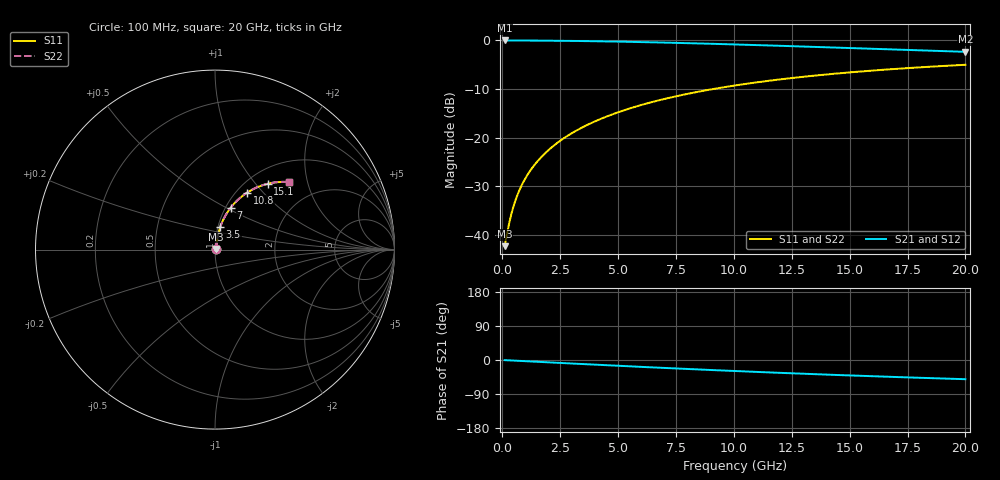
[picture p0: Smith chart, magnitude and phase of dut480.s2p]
! Touchstone file exported from HFSS 2024.1.0
!  File:  C:/UserFiles/LocalFiles/RDL_TSV_Batchsim/temp_RDL_bottom_480_1779686370.aedt
!  Generated:  01:22:03 PM May 25, 2026
!  Design:  RDL_bottom
!  Project:  temp_RDL_bottom_480_1779686370
!  Setup:  Setup1
!  Solution:  Sweep
! Variables:
!  dtsv = 10.80580581um
!  hbump = 3um
!  htsv = 98.81um
!  ldown = 650.27um
!  lrdl = 100um
!  p = 40
!  p1 = 52.64um
!  rhole = 1um
!  t = 450um
!  tdown = 3.17um
!  trdl = 3.915915916um
!  wdown = 10.87um
!  wrdl = 20um
# GHz S MA R 50.000000
! Terminal data exported
! Port[1] = RDL1_T1
! Port[2] = RDL1_T2
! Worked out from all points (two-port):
!   200 points, 100 MHz to 20 GHz, reference 50 ohm
!   highest |S21| = -0.06 dB at 100 MHz (marker M1); lowest = -2.4 dB at 20 GHz (marker M2)
!   |S21| within 3 dB of the highest: start of sweep to end of sweep
!   lowest |S11| = -42.3 dB at 100 MHz (marker M3), VSWR 1.02, Z = 50.7 + j0.387 ohm
!   |S11| at or under -10 dB: start of sweep to 9.135 GHz
!   |S22| runs from -42.3 to -5.0 dB; largest |S21 - S12| = 2.6e-15
!   S11 on the Smith chart (normalised r, x): 100 MHz: 1.01, +0.01; 3.5 GHz: 1.03, +0.26; 7 GHz: 1.06, +0.53; 10.8 GHz: 1.12, +0.82; 15.1 GHz: 1.23, +1.16; 20 GHz: 1.42, +1.55
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0.1  0.007701 29.7  0.9933 -0.3  0.9933 -0.3  0.007701 29.7
! Gamma 0 0 0 0
! Port Impedance 50 0 50 0
0.3  0.01336 58.6  0.9931 -1.0  0.9931 -1.0  0.01336 58.6
0.4  0.01677 64.7  0.9929 -1.3  0.9929 -1.3  0.01677 64.7
0.6  0.02387 71.1  0.9925 -1.9  0.9925 -1.9  0.02387 71.1
0.7  0.02747 73.0  0.9923 -2.2  0.9923 -2.2  0.02747 73.0
0.9  0.03471 75.4  0.9918 -2.8  0.9918 -2.8  0.03471 75.4
1.2  0.0456 77.3  0.991 -3.8  0.991 -3.8  0.0456 77.3
1.7  0.06379 78.5  0.9893 -5.3  0.9893 -5.3  0.06379 78.5
2.2  0.08199 78.6  0.9871 -6.8  0.9871 -6.8  0.08199 78.7
2.8  0.1038 78.1  0.9839 -8.7  0.9839 -8.7  0.1038 78.1
3.5  0.129 77.1  0.9793 -10.8  0.9793 -10.8  0.129 77.1
4.2  0.1539 75.7  0.9739 -12.9  0.9739 -12.9  0.1539 75.7
5  0.1819 74.0  0.9667 -15.3  0.9667 -15.3  0.182 74.1
6.8  0.2429 69.9  0.9472 -20.4  0.9472 -20.4  0.2429 69.9
7  0.2494 69.4  0.9448 -21.0  0.9448 -21.0  0.2494 69.5
8.5  0.297 65.9  0.9256 -25.1  0.9256 -25.1  0.297 65.9
10.1  0.3444 62.2  0.9034 -29.2  0.9034 -29.2  0.3445 62.2
10.8  0.3641 60.6  0.8933 -31.0  0.8933 -31.0  0.3642 60.6
13.4  0.4308 54.9  0.8546 -37.2  0.8546 -37.2  0.431 54.9
15.1  0.4693 51.4  0.8292 -41.0  0.8292 -41.0  0.4695 51.4
16.7  0.5019 48.2  0.8057 -44.3  0.8057 -44.3  0.5021 48.3
20  0.5591 42.2  0.7594 -50.7  0.7594 -50.7  0.5593 42.3
